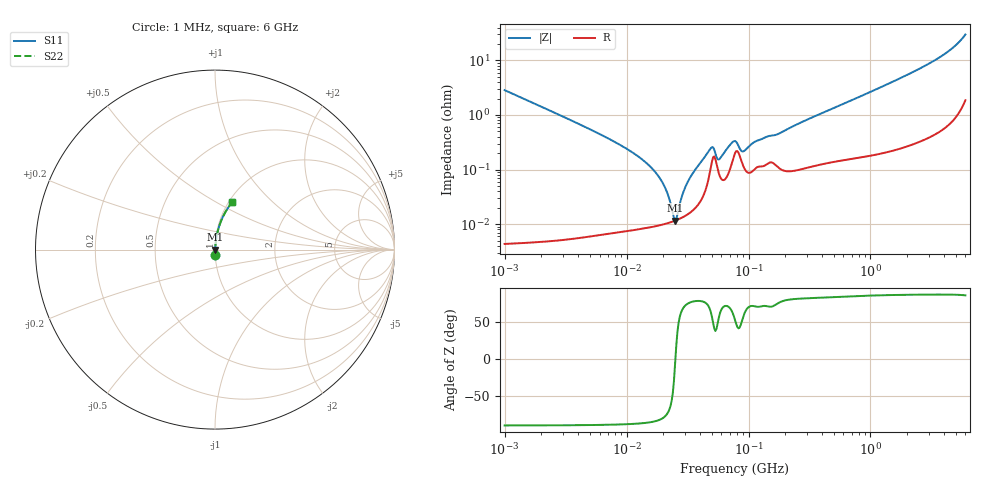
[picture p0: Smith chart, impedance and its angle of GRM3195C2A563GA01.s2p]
!Murata Part Number: GRM3195C2A563GA01
!These Parameters are Measured in Series Mode Connection
!Data Generated on Mar 30, 2021
!  o--ll--o
!Port1  Port2
!  o------o
!Operation Temp=25[degC], DC Bias Voltage=0[V]
!Freq. Start=1000[kHz] Stop=6[GHz] 401[Steps]
# Hz S RI R 50
!Freq.(Hz) S11(Real) S11(Imag) S21(Real) S21(Imag) S12(Real) S12(Imag) S22(Real) S22(Imag)
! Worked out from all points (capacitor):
!   401 points, 1 MHz to 6 GHz, reference 50 ohm
!   read as one part in series: C = 55.7 nF near 1.044 MHz
!   lowest |Z| = 11.7 mohm at 25 MHz (marker M1)
!   series resonance near 25.15 MHz, so ESL is about 720 pH
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1000000  0.000857 -0.0285  0.9991 0.0285  0.9991 0.0285  0.000857 -0.0285
4293785  9.83e-05 -0.00645  0.9999 0.00645  0.9999 0.00645  9.83e-05 -0.00645
1.142569e7  8.18e-05 -0.00199  0.9999 0.00199  0.9999 0.00199  8.18e-05 -0.00199
1.515906e7  8.78e-05 -0.00121  0.9999 0.00121  0.9999 0.00121  8.78e-05 -0.00121
1.843659e7  9.51e-05 -0.000728  0.9999 0.000728  0.9999 0.000728  9.51e-05 -0.000728
2.100646e7  0.000102 -0.00042  0.9999 0.00042  0.9999 0.00042  0.000102 -0.00042
2.393455e7  0.000112 -0.000116  0.9999 0.000116  0.9999 0.000116  0.000112 -0.000116
2.499862e7  0.000116 -1.38e-05  0.9999 1.38e-05  0.9999 1.38e-05  0.000116 -1.38e-05
2.610999e7  0.000121 8.93e-05  0.9999 -8.93e-05  0.9999 -8.93e-05  0.000121 8.93e-05
2.910942e7  0.000135 0.000354  0.9999 -0.000354  0.9999 -0.000354  0.000135 0.000354
3.175522e7  0.000152 0.000576  0.9998 -0.000576  0.9998 -0.000576  0.000152 0.000576
4.800399e7  0.000849 0.00215  0.9992 -0.00215  0.9992 -0.00215  0.000849 0.00215
5.124051e7  0.00168 0.00192  0.9983 -0.00192  0.9983 -0.00192  0.00168 0.00192
5.712686e7  0.000847 0.00127  0.9992 -0.00127  0.9992 -0.00127  0.000847 0.00127
7.745967e7  0.002 0.00266  0.998 -0.00266  0.998 -0.00266  0.002 0.00266
8.635799e7  0.00156 0.00163  0.9984 -0.00163  0.9984 -0.00163  0.00156 0.00163
9.218041e7  0.00106 0.00192  0.9989 -0.00192  0.9989 -0.00192  0.00106 0.00192
1.145757e8  0.00107 0.00312  0.9989 -0.00312  0.9989 -0.00312  0.00107 0.00312
3.325952e8  0.00122 0.00894  0.9988 -0.00894  0.9988 -0.00894  0.00122 0.00894
1.428092e9  0.00356 0.0378  0.9964 -0.0378  0.9964 -0.0378  0.00356 0.0378
3.638376e9  0.0169 0.1092  0.9831 -0.1092  0.9831 -0.1092  0.0169 0.1092
6e9  0.0956 0.2645  0.9044 -0.2645  0.9044 -0.2645  0.0956 0.2645
